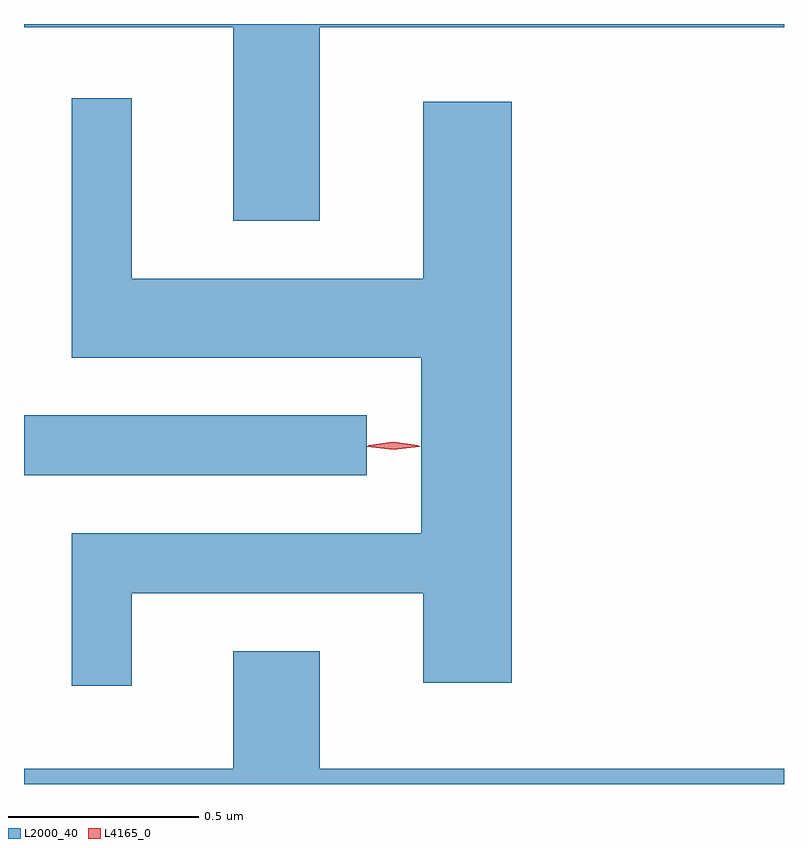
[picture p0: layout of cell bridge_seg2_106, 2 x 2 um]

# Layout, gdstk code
import gdstk
lib = gdstk.Library(unit=1e-6, precision=1e-09)
def R(c, l, rs):  # rectangles x0, y0, x1, y1
    for r in rs: c.add(gdstk.rectangle(r[:2], r[2:], *l))
def P(c, l, *ps):  # polygons
    for p in ps: c.add(gdstk.Polygon(p, *l))
L2000_40 = (2000, 40)
L4165_0 = (4165, 0)

bridge_seg2_106 = lib.new_cell('bridge_seg2_106')
R(bridge_seg2_106, L2000_40, [(1291.651,993.856,1292.553,994.014)])
P(bridge_seg2_106, L2000_40, [(1292.429,995.036),(1293.651,995.036),(1293.651,995.044),(1291.651,995.044),(1291.651,995.036),(1292.201,995.036),(1292.201,994.526),(1292.429,994.526)],
  [(1291.934,993.546),(1292.701,993.546),(1292.701,993.311),(1292.934,993.311),(1292.934,994.839),(1292.701,994.839),(1292.701,994.374),(1291.934,994.374),(1291.934,994.848),(1291.776,994.848),(1291.776,994.166),(1292.696,994.166),(1292.696,993.704),(1291.776,993.704),(1291.776,993.303),(1291.934,993.303)],
  [(1293.651,993.084),(1292.429,993.084),(1292.429,993.394),(1292.201,993.394),(1292.201,993.084),(1291.651,993.084),(1291.651,993.044),(1293.651,993.044)])
P(bridge_seg2_106, L4165_0, [(1292.623,993.923),(1292.554,993.932),(1292.553,993.933),(1292.554,993.933),(1292.623,993.943),(1292.692,993.933),(1292.693,993.933),(1292.692,993.932)],
  [(1292.623,993.925),(1292.558,993.934),(1292.557,993.935),(1292.558,993.935),(1292.623,993.945),(1292.689,993.935),(1292.689,993.935),(1292.689,993.934)])

lib.write_gds('bridge_seg2_106.gds')
